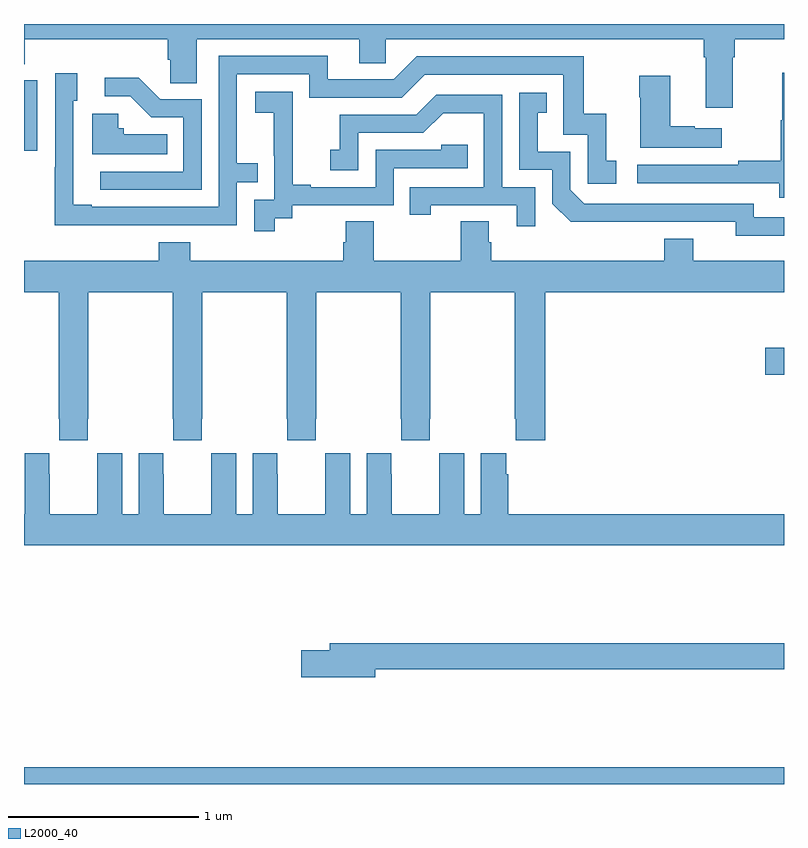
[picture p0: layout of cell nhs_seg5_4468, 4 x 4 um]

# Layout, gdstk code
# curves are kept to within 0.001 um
import gdstk
lib = gdstk.Library(unit=1e-6, precision=1e-09)
def R(c, l, rs):  # rectangles x0, y0, x1, y1
    for r in rs: c.add(gdstk.rectangle(r[:2], r[2:], *l))
def P(c, l, *ps):  # polygons
    for p in ps: c.add(gdstk.Polygon(p, *l))
L2000_40 = (2000, 40)

nhs_seg5_4468 = lib.new_cell('nhs_seg5_4468')
R(nhs_seg5_4468, L2000_40, [(373,892.799,377,892.888), (376.902,894.953,377,895.095), (373,896.133,373.071,896.502)])
P(nhs_seg5_4468, L2000_40, [(376.729,896.624),(376.742,896.624),(376.742,896.72),(377,896.72),(377,896.799),(373,896.799),(373,896.587),(373.004,896.587),(373.004,896.72),(373.757,896.72),(373.757,896.611),(373.77,896.611),(373.77,896.488),(373.909,896.488),(373.909,896.72),(374.765,896.72),(374.765,896.593),(374.904,896.593),(374.904,896.72),(376.577,896.72),(376.577,896.624),(376.589,896.624),(376.589,896.358),(376.729,896.358)],
  [(373.625,895.74),(374.121,895.74),(374.121,895.965),(374.231,895.965),(374.231,896.066),(374.121,896.066),(374.121,896.535),(374.502,896.535),(374.502,896.412),(374.988,896.412),(375.108,896.532),(375.837,896.532),(375.837,896.217),(375.966,896.217),(375.966,895.959),(376.117,895.959),(376.117,896.079),(376.064,896.079),(376.064,896.326),(375.946,896.326),(375.946,896.628),(375.066,896.628),(374.946,896.508),(374.599,896.508),(374.599,896.631),(374.025,896.631),(374.025,895.836),(373.357,895.836),(373.357,895.849),(373.26,895.849),(373.26,896.394),(373.279,896.394),(373.279,896.539),(373.164,896.539),(373.164,896.045),(373.162,896.045),(373.162,895.739)],
  [(377,896.542),(376.99,896.542),(376.99,896.292),(376.983,896.292),(376.983,896.078),(376.759,896.078),(376.759,896.058),(376.227,896.058),(376.227,895.962),(376.975,895.962),(376.975,895.884),(377,895.884)],
  [(376.672,896.251),(376.529,896.251),(376.529,896.261),(376.402,896.261),(376.402,896.527),(376.237,896.527),(376.237,896.414),(376.244,896.414),(376.244,896.147),(376.672,896.147)],
  [(373.935,896.403),(373.716,896.403),(373.603,896.516),(373.425,896.516),(373.425,896.418),(373.559,896.418),(373.67,896.307),(373.839,896.307),(373.839,896.022),(373.401,896.022),(373.401,895.926),(373.935,895.926)],
  [(374.32,895.777),(374.412,895.777),(374.412,895.845),(374.946,895.845),(374.946,896.04),(375.335,896.04),(375.335,896.163),(375.195,896.163),(375.195,896.136),(374.85,896.136),(374.85,895.941),(374.509,895.941),(374.509,895.954),(374.414,895.954),(374.414,896.237),(374.415,896.237),(374.415,896.443),(374.217,896.443),(374.217,896.333),(374.315,896.333),(374.315,896.105),(374.316,896.105),(374.316,895.875),(374.211,895.875),(374.211,895.707),(374.32,895.707)],
  [(377,895.782),(376.842,895.782),(376.842,895.854),(375.948,895.854),(375.876,895.926),(375.876,896.127),(375.703,896.127),(375.703,896.331),(375.752,896.331),(375.752,896.437),(375.606,896.437),(375.606,896.031),(375.78,896.031),(375.78,895.854),(375.878,895.757),(376.746,895.758),(376.746,895.685),(377,895.685)],
  [(375.69,895.941),(375.516,895.941),(375.516,896.427),(375.17,896.427),(375.065,896.322),(374.662,896.322),(374.662,896.137),(374.613,896.137),(374.613,896.028),(374.76,896.028),(374.76,896.226),(375.102,896.226),(375.206,896.33),(375.42,896.33),(375.42,895.941),(375.031,895.941),(375.031,895.794),(375.142,895.794),(375.142,895.845),(375.593,895.845),(375.593,895.734),(375.69,895.734)],
  [(373.754,896.218),(373.524,896.218),(373.524,896.25),(373.497,896.25),(373.497,896.326),(373.358,896.326),(373.358,896.114),(373.754,896.114)],
  [(373.874,895.651),(373.709,895.651),(373.709,895.552),(373,895.552),(373,895.388),(373.183,895.388),(373.183,894.721),(373.185,894.721),(373.185,894.609),(373.335,894.609),(373.335,894.721),(373.338,894.721),(373.338,895.388),(373.783,895.388),(373.783,894.721),(373.785,894.721),(373.785,894.609),(373.935,894.609),(373.935,894.721),(373.938,894.721),(373.938,895.388),(374.383,895.388),(374.383,894.721),(374.385,894.721),(374.385,894.609),(374.535,894.609),(374.535,894.721),(374.538,894.721),(374.538,895.388),(374.983,895.388),(374.983,894.721),(374.985,894.721),(374.985,894.609),(375.135,894.609),(375.135,894.721),(375.138,894.721),(375.138,895.388),(375.583,895.388),(375.583,894.721),(375.589,894.721),(375.589,894.609),(375.743,894.609),(375.743,895.388),(377,895.388),(377,895.552),(376.522,895.552),(376.522,895.669),(376.37,895.669),(376.37,895.552),(375.458,895.552),(375.458,895.65),(375.445,895.65),(375.445,895.76),(375.298,895.76),(375.298,895.552),(374.841,895.552),(374.841,895.76),(374.693,895.76),(374.693,895.65),(374.681,895.65),(374.681,895.552),(373.874,895.552)],
  [(374.204,894.541),(374.204,894.22),(374.116,894.22),(374.116,894.541),(373.986,894.541),(373.986,894.428),(373.985,894.428),(373.985,894.22),(373.735,894.22),(373.735,894.428),(373.734,894.428),(373.734,894.541),(373.604,894.541),(373.604,894.22),(373.516,894.22),(373.516,894.541),(373.386,894.541),(373.386,894.428),(373.385,894.428),(373.385,894.22),(373.135,894.22),(373.135,894.428),(373.134,894.428),(373.134,894.541),(373.004,894.541),(373.004,894.22),(373,894.22),(373,894.056),(377,894.056),(377,894.22),(375.548,894.22),(375.548,894.428),(375.538,894.428),(375.538,894.541),(375.404,894.541),(375.404,894.22),(375.316,894.22),(375.316,894.541),(375.186,894.541),(375.186,894.428),(375.185,894.428),(375.185,894.22),(374.935,894.22),(374.935,894.428),(374.934,894.428),(374.934,894.541),(374.804,894.541),(374.804,894.22),(374.716,894.22),(374.716,894.541),(374.586,894.541),(374.586,894.428),(374.585,894.428),(374.585,894.22),(374.335,894.22),(374.335,894.428),(374.334,894.428),(374.334,894.541)],
  [(374.848,893.404),(377,893.404),(377,893.54),(374.609,893.54),(374.609,893.504),(374.46,893.504),(374.46,893.362),(374.848,893.362)])

lib.write_gds('nhs_seg5_4468.gds')
